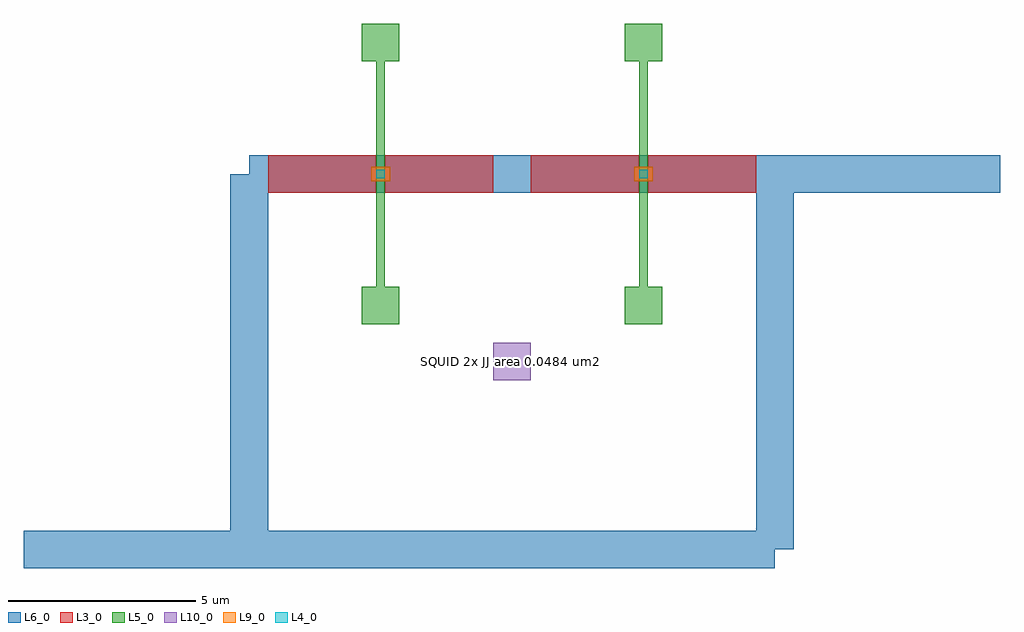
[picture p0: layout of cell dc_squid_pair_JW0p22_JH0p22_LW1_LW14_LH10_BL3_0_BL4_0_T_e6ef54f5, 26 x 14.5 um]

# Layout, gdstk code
import gdstk
lib = gdstk.Library(unit=1e-6, precision=1e-09)
def R(c, l, rs):  # rectangles x0, y0, x1, y1
    for r in rs: c.add(gdstk.rectangle(r[:2], r[2:], *l))
L3_0 = (3, 0)
L4_0 = (4, 0)
L5_0 = (5, 0)
L6_0 = (6, 0)
L9_0 = (9, 0)
L10_0 = (10, 0)

manhattan_josephson_junc = lib.new_cell('manhattan_josephson_junction_JW0p22_JH0p22_OANone_LW1_E_903ce2cd')
R(manhattan_josephson_junc, L3_0, [(-3,-0.5,-0.11,0.5), (0.11,-0.5,3,0.5), (-0.11,-0.11,0.11,0.11)])
R(manhattan_josephson_junc, L4_0, [(-0.11,-0.11,0.11,0.11)])
R(manhattan_josephson_junc, L5_0, [(-0.5,-4,0.5,-3), (-0.11,-3,0.11,3), (-0.5,3,0.5,4)])
R(manhattan_josephson_junc, L9_0, [(-0.25,-0.19,0.13,0.19), (-0.13,-0.19,0.25,0.19)])
manhattan_josephson_junc.add(gdstk.Label('JJ area 0.0484 um2', (0,-5), layer=10, texttype=0))

dc_squid_pair_jw0p22_jh0 = lib.new_cell('dc_squid_pair_JW0p22_JH0p22_LW1_LW14_LH10_BL3_0_BL4_0_T_e6ef54f5')
R(dc_squid_pair_jw0p22_jh0, L6_0, [(-13,-5.5,-7,-4.5), (-7,-5.5,7,-4.5), (-7.5,-5,-6.5,5), (6.5,-5,7.5,5), (-7,4.5,7,5.5), (7,4.5,13,5.5)])
R(dc_squid_pair_jw0p22_jh0, L10_0, [(-0.5,-0.5,0.5,0.5)])
dc_squid_pair_jw0p22_jh0.add(gdstk.Reference(manhattan_josephson_junc, (-3.5,5)))
dc_squid_pair_jw0p22_jh0.add(gdstk.Reference(manhattan_josephson_junc, (3.5,5)))
dc_squid_pair_jw0p22_jh0.add(gdstk.Label('SQUID 2x JJ area 0.0484 um2 loop 117 um2', (0,0), layer=10, texttype=0))

lib.write_gds('dc_squid_pair_JW0p22_JH0p22_LW1_LW14_LH10_BL3_0_BL4_0_T_e6ef54f5.gds')
